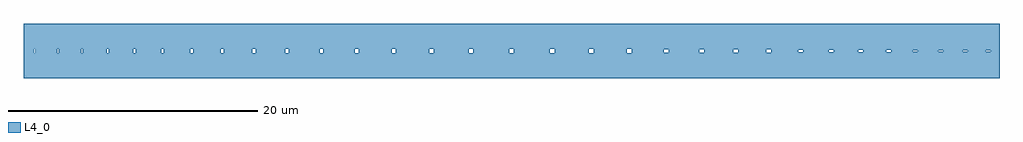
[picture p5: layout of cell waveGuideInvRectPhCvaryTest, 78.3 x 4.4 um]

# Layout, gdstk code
import gdstk
lib = gdstk.Library(unit=1e-6, precision=1e-09)
def P(c, l, *ps):  # polygons
    for p in ps: c.add(gdstk.Polygon(p, *l))
L4_0 = (4, 0)

waveguideinvrectphcvaryt = lib.new_cell('waveGuideInvRectPhCvaryTest')
P(waveguideinvrectphcvaryt, L4_0, [(-35.15,4.8),(-35.15,6.8),(-34.2,6.8),(-34.2,7.2),(-34.3,7.2),(-34.3,6.8),(-35.15,6.8),(-35.15,9.2),(-33.35,9.2),(-33.35,4.8)],
  [(-33.35,4.8),(-33.35,6.8),(-32.34,6.8),(-32.34,7.2),(-32.46,7.2),(-32.46,6.8),(-33.35,6.8),(-33.35,9.2),(-31.45,9.2),(-31.45,4.8)],
  [(-31.45,4.8),(-31.45,6.8),(-30.38,6.8),(-30.38,7.2),(-30.52,7.2),(-30.52,6.8),(-31.45,6.8),(-31.45,9.2),(-29.45,9.2),(-29.45,4.8)],
  [(-29.45,4.8),(-29.45,6.8),(-28.32,6.8),(-28.32,7.2),(-28.48,7.2),(-28.48,6.8),(-29.45,6.8),(-29.45,9.2),(-27.35,9.2),(-27.35,4.8)],
  [(-27.35,4.8),(-27.35,6.8),(-26.16,6.8),(-26.16,7.2),(-26.34,7.2),(-26.34,6.8),(-27.35,6.8),(-27.35,9.2),(-25.15,9.2),(-25.15,4.8)],
  [(-25.15,4.8),(-25.15,6.8),(-23.9,6.8),(-23.9,7.2),(-24.1,7.2),(-24.1,6.8),(-25.15,6.8),(-25.15,9.2),(-22.85,9.2),(-22.85,4.8)],
  [(-22.85,4.8),(-22.85,6.8),(-21.54,6.8),(-21.54,7.2),(-21.76,7.2),(-21.76,6.8),(-22.85,6.8),(-22.85,9.2),(-20.45,9.2),(-20.45,4.8)],
  [(-20.45,4.8),(-20.45,6.8),(-19.08,6.8),(-19.08,7.2),(-19.32,7.2),(-19.32,6.8),(-20.45,6.8),(-20.45,9.2),(-17.95,9.2),(-17.95,4.8)],
  [(-17.95,4.8),(-17.95,6.8),(-16.52,6.8),(-16.52,7.2),(-16.78,7.2),(-16.78,6.8),(-17.95,6.8),(-17.95,9.2),(-15.35,9.2),(-15.35,4.8)],
  [(-15.35,4.8),(-15.35,6.8),(-13.86,6.8),(-13.86,7.2),(-14.14,7.2),(-14.14,6.8),(-15.35,6.8),(-15.35,9.2),(-12.65,9.2),(-12.65,4.8)],
  [(-12.65,4.8),(-12.65,6.8),(-11.1,6.8),(-11.1,7.2),(-11.4,7.2),(-11.4,6.8),(-12.65,6.8),(-12.65,9.2),(-9.85,9.2),(-9.85,4.8)],
  [(-9.85,4.8),(-9.85,6.8),(-8.24,6.8),(-8.24,7.2),(-8.56,7.2),(-8.56,6.8),(-9.85,6.8),(-9.85,9.2),(-6.95,9.2),(-6.95,4.8)],
  [(-6.95,4.8),(-6.95,6.8),(-5.28,6.8),(-5.28,7.2),(-5.62,7.2),(-5.62,6.8),(-6.95,6.8),(-6.95,9.2),(-3.95,9.2),(-3.95,4.8)],
  [(-3.95,4.8),(-3.95,6.8),(-2.22,6.8),(-2.22,7.2),(-2.58,7.2),(-2.58,6.8),(-3.95,6.8),(-3.95,9.2),(-0.85,9.2),(-0.85,4.8)],
  [(-0.85,4.8),(-0.85,6.8),(0.94,6.8),(0.94,7.2),(0.56,7.2),(0.56,6.8),(-0.85,6.8),(-0.85,9.2),(2.35,9.2),(2.35,4.8)],
  [(2.35,4.8),(2.35,6.8),(4.2,6.8),(4.2,7.2),(3.8,7.2),(3.8,6.8),(2.35,6.8),(2.35,9.2),(5.65,9.2),(5.65,4.8)],
  [(5.65,4.8),(5.65,6.81),(7.45,6.81),(7.45,7.19),(7.05,7.19),(7.05,6.81),(5.65,6.81),(5.65,9.2),(8.85,9.2),(8.85,4.8)],
  [(8.85,4.8),(8.85,6.82),(10.6,6.82),(10.6,7.18),(10.2,7.18),(10.2,6.82),(8.85,6.82),(8.85,9.2),(11.95,9.2),(11.95,4.8)],
  [(11.95,4.8),(11.95,6.83),(13.65,6.83),(13.65,7.17),(13.25,7.17),(13.25,6.83),(11.95,6.83),(11.95,9.2),(14.95,9.2),(14.95,4.8)],
  [(14.95,4.8),(14.95,6.84),(16.6,6.84),(16.6,7.16),(16.2,7.16),(16.2,6.84),(14.95,6.84),(14.95,9.2),(17.85,9.2),(17.85,4.8)],
  [(17.85,4.8),(17.85,6.85),(19.45,6.85),(19.45,7.15),(19.05,7.15),(19.05,6.85),(17.85,6.85),(17.85,9.2),(20.65,9.2),(20.65,4.8)],
  [(20.65,4.8),(20.65,6.86),(22.2,6.86),(22.2,7.14),(21.8,7.14),(21.8,6.86),(20.65,6.86),(20.65,9.2),(23.35,9.2),(23.35,4.8)],
  [(23.35,4.8),(23.35,6.87),(24.85,6.87),(24.85,7.13),(24.45,7.13),(24.45,6.87),(23.35,6.87),(23.35,9.2),(25.95,9.2),(25.95,4.8)],
  [(25.95,4.8),(25.95,6.88),(27.4,6.88),(27.4,7.12),(27,7.12),(27,6.88),(25.95,6.88),(25.95,9.2),(28.45,9.2),(28.45,4.8)],
  [(28.45,4.8),(28.45,6.89),(29.85,6.89),(29.85,7.11),(29.45,7.11),(29.45,6.89),(28.45,6.89),(28.45,9.2),(30.85,9.2),(30.85,4.8)],
  [(30.85,4.8),(30.85,6.9),(32.2,6.9),(32.2,7.1),(31.8,7.1),(31.8,6.9),(30.85,6.9),(30.85,9.2),(33.15,9.2),(33.15,4.8)],
  [(33.15,4.8),(33.15,6.91),(34.45,6.91),(34.45,7.09),(34.05,7.09),(34.05,6.91),(33.15,6.91),(33.15,9.2),(35.35,9.2),(35.35,4.8)],
  [(35.35,4.8),(35.35,6.92),(36.6,6.92),(36.6,7.08),(36.2,7.08),(36.2,6.92),(35.35,6.92),(35.35,9.2),(37.45,9.2),(37.45,4.8)],
  [(37.45,4.8),(37.45,6.93),(38.65,6.93),(38.65,7.07),(38.25,7.07),(38.25,6.93),(37.45,6.93),(37.45,9.2),(39.45,9.2),(39.45,4.8)],
  [(39.45,4.8),(39.45,6.94),(40.6,6.94),(40.6,7.06),(40.2,7.06),(40.2,6.94),(39.45,6.94),(39.45,9.2),(41.35,9.2),(41.35,4.8)],
  [(41.35,4.8),(41.35,6.95),(42.45,6.95),(42.45,7.05),(42.05,7.05),(42.05,6.95),(41.35,6.95),(41.35,9.2),(43.15,9.2),(43.15,4.8)])

lib.write_gds('waveGuideInvRectPhCvaryTest.gds')
